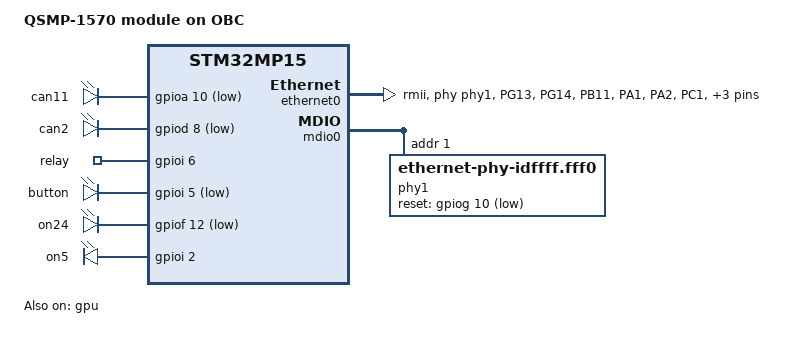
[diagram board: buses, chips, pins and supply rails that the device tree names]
// SPDX-License-Identifier: GPL-2.0 OR BSD-3-Clause
/*
 * Copyright (C) 2021 Martin Schweingruber <martin.schweingruber@schmid-elektronik.ch>
 */

#include "stm32mp157c-qsmp-1570.dts"
#include "stm32mp15-karo-qsbase1.dtsi"
#include "stm32mp15-qsmp-lcd-panel.dtsi"

/ {
	model = "QSMP-1570 module on OBC";
    
	leds {
        compatible = "pwm-leds", "gpio-leds";
        
        can11 {
            label = "can11";
            linux,default-trigger = "none";
            gpios = <&gpioa 10 (GPIO_ACTIVE_LOW | GPIO_PULL_UP)>; /* Pin 77 */
        };

        can2 {
            label = "can2";
            linux,default-trigger = "none";
            gpios = <&gpiod 8 (GPIO_ACTIVE_LOW | GPIO_PULL_UP)>; /* Pin 76 */
        };

        relay {
            label = "relay";
            linux,default-trigger = "none";
            gpios = <&gpioi 6 (GPIO_ACTIVE_HIGH | GPIO_PULL_DOWN)>; /* Pin 75 */
        };

        button {
            label = "button";
            linux,default-trigger = "none";
            gpios = <&gpioi 5 (GPIO_ACTIVE_LOW | GPIO_PULL_UP)>; /* Pin 74 */
        };

        on24 {
            label = "on24";
            linux,default-trigger = "none";
            gpios = <&gpiof 12 (GPIO_ACTIVE_LOW | GPIO_PULL_UP)>; /* Pin 70 */
        };

        on5 {
            label = "on5";
            linux,default-trigger = "none";
            gpios = <&gpioi 2 (GPIO_ACTIVE_HIGH | GPIO_PULL_UP)>; /* Pin 69 */
        };
    };
    
};

&lcd_panel {
    status = "disabled";
};

&gpu {
    status = "okay";
};


&pinctrl {
    obc_rmii_pin: rmii-0 {
        pins1 {
            pinmux = <STM32_PINMUX('G', 13, AF11)>, /* ETH1_RMII_TXD0 */
                <STM32_PINMUX('G', 14, AF11)>, /* ETH1_RMII_TXD1 */
                <STM32_PINMUX('B', 11, AF11)>, /* ETH1_RMII_TX_EN */
                <STM32_PINMUX('A', 1, AF11)>,   /* ETH1_RMII_REF_CLK */
                <STM32_PINMUX('A', 2, AF11)>,  /* ETH1_MDIO */
                <STM32_PINMUX('C', 1, AF11)>;  /* ETH1_MDC */
            bias-disable;
            drive-push-pull;
            slew-rate = <2>;
        };
        pins2 {
            pinmux = <STM32_PINMUX('C', 4, AF11)>,  /* ETH1_RMII_RXD0 */
                <STM32_PINMUX('C', 5, AF11)>,  /* ETH1_RMII_RXD1 */
                <STM32_PINMUX('A', 7, AF11)>;  /* ETH1_RMII_CRS_DV */
            bias-disable;
        };
    };
    
    
    obc_rmii_sleep_pin: rmii-sleep-0 {
        pins1 {
            pinmux = <STM32_PINMUX('G', 13, ANALOG)>, /* ETH1_RMII_TXD0 */
                <STM32_PINMUX('G', 14, ANALOG)>, /* ETH1_RMII_TXD1 */
                <STM32_PINMUX('B', 11, ANALOG)>, /* ETH1_RMII_TX_EN */
                <STM32_PINMUX('A', 2, ANALOG)>,  /* ETH1_MDIO */
                <STM32_PINMUX('C', 1, ANALOG)>,  /* ETH1_MDC */
                <STM32_PINMUX('C', 4, ANALOG)>,  /* ETH1_RMII_RXD0 */
                <STM32_PINMUX('C', 5, ANALOG)>,  /* ETH1_RMII_RXD1 */
                <STM32_PINMUX('A', 1, ANALOG)>,  /* ETH1_RMII_REF_CLK */
                <STM32_PINMUX('A', 7, ANALOG)>;  /* ETH1_RMII_CRS_DV */
        };
    };
};

&ethernet0 {
    pinctrl-0 = <&obc_rmii_pin>;
    pinctrl-1 = <&obc_rmii_sleep_pin>;
    phy-mode = "rmii";
    // use own phy definition, phy0 is defined in karo layers (micrel, rgmii)
    phy-handle = <&phy1>;
};


&mdio0 {
    phy1: ethernet-phy@1 {
        // use generic phy driver (just a random ID)
        compatible = "ethernet-phy-idffff.fff0";
        
        // that is the phy ID, loads dp83848 driver, seems not compatble to the phy
        //compatible = "ethernet-phy-id2000.5c90";
        
        // results in "no phy at addr", the stmmac does not accept it
        //compatible = "ethernet-phy-ieee802.3-c22";
        reg = <1>;

        reset-assert-us = <10000>;
        reset-deassert-us = <80000>;
        reset-gpios = <&gpiog 10 (GPIO_ACTIVE_LOW | GPIO_OPEN_DRAIN)>;
    };
};
